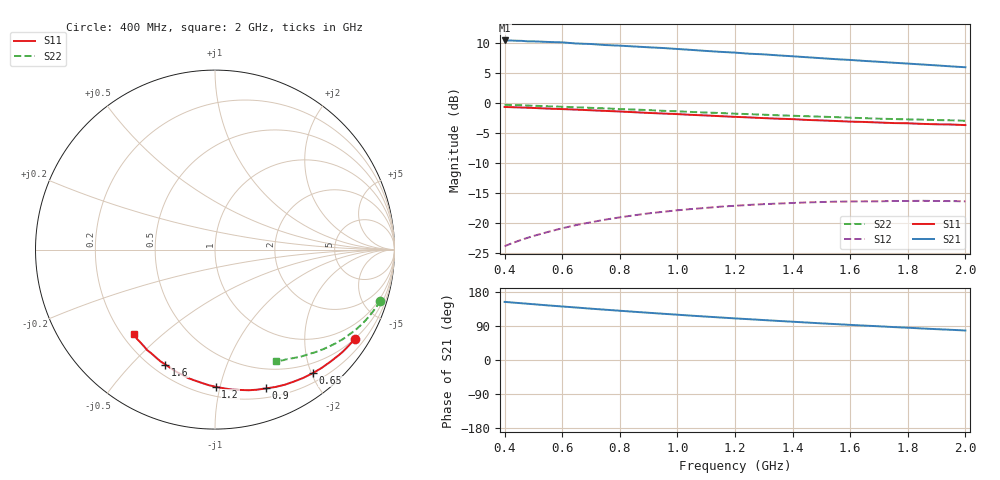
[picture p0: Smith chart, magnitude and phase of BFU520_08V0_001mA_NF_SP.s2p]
! Filename:  P:\Prog\Test\Noise\ATS_data\Testdata_Net\06 Compressed Noise after Statistics\BFU520_APG2013_37_A05_08p0V_001mA_NF_CM01_D.sf
! Date/Time: Fri 26/Apr/2013 14:13:09
! BFU520_APG2013_37_A05_08p0V_1to20mA_NF_CM01_Bias1_R.sf
! Noise Parameter Data File
! BFU520_APG2013_37_A05_08p0V_1to20mA_NF_CM01
! Date/time: Tue Apr 23 18:16:22 2013
! freq range =  0.4000 to  2.0000 GHz, 37 points
! bias range =  1.0000 to 20.0000 mA, 8 points
! bias supplies used: 1 1 0 0 0 0
! VAR bias_mode= 1  ! Specify V_out, I_out
! VAR bias_var = 1  ! Bias variable = I_out
! VAR V_out= 8.000000
! VAR I_out= 1.000000
! VAR V_in= 0.789100
! VAR I_in= 0.010700
! Device data file deembeded for feedlines and parallel
! Original file: \06 Compressed Noise after Statistics\BFU520_APG2013_37_A05_08p0V_001mA_NF_CM01_R.sf
! Feed-files: PR047V01_250413_Feed1.s2p, PR047V01_250413_Feed2.s2p
! Parallel-file: PR047V01_250413_Par.s2p
# MHz S MA R 50
!  Freq-MHz  S11-mag  S11-arg  S21-mag  S21-arg  S12-mag  S12-arg  S22-mag  S22-arg
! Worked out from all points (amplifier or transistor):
!   37 points, 400 MHz to 2 GHz, reference 50 ohm
!   highest |S21| = 10.4 dB at 400 MHz (marker M1)
!   |S21| within 3 dB of that: start of sweep to 1.512 GHz
!   unconditionally stable (mu >= 1): nowhere
!   at 500 MHz: K = 0.13, MSG = 16.2 dB, |S12| = -22.2 dB
!   at 1.1 GHz: K = 0.26, MSG = 13.1 dB, |S12| = -17.5 dB
!   at 2 GHz: K = 0.49, MSG = 11.2 dB, |S12| = -16.4 dB
!   lowest NFmin = 0.39 dB at 1.8 GHz
!   S11 on the Smith chart (normalised r, x): 400 MHz: 0.49, -3.36; 650 MHz: 0.34, -2.02; 900 MHz: 0.29, -1.40; 1.2 GHz: 0.26, -0.97; 1.6 GHz: 0.25, -0.63; 2 GHz: 0.25, -0.40
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400  0.924 -32.5  3.317 153.4  0.0637 68.5  0.9631 -17.2
420  0.9209 -34.1  3.317 152.2  0.06662 67.5  0.9597 -18.0
460  0.914 -37.2  3.292 149.7  0.07221 65.5  0.9547 -19.6
480  0.9111 -38.8  3.262 148.4  0.07482 64.5  0.9499 -20.4
500  0.9069 -40.3  3.262 147.2  0.07749 63.6  0.9467 -21.1
550  0.896 -44.3  3.224 144.1  0.08369 61.0  0.9368 -23.1
600  0.8872 -48.0  3.198 141.3  0.08987 58.8  0.9282 -24.9
650  0.8781 -51.7  3.128 138.4  0.09574 56.5  0.919 -26.7
700  0.8672 -55.6  3.098 135.4  0.1009 54.2  0.9086 -28.5
750  0.8569 -59.0  3.037 132.7  0.1061 52.1  0.8994 -30.2
800  0.8472 -62.8  3.002 130.0  0.1108 50.0  0.8878 -31.8
900  0.8242 -69.7  2.909 124.6  0.1197 46.1  0.87 -35.0
950  0.8148 -73.3  2.869 122.1  0.1232 44.0  0.8584 -36.6
1050  0.7942 -79.9  2.766 116.9  0.1301 40.3  0.8394 -39.6
1200  0.7645 -89.7  2.627 109.8  0.1384 35.1  0.8124 -43.6
1250  0.7561 -92.7  2.571 107.6  0.1408 33.7  0.8056 -44.7
1300  0.7461 -95.8  2.54 105.3  0.1428 32.0  0.7964 -46.1
1500  0.7138 -107.7  2.359 96.7  0.1487 26.1  0.7665 -50.9
1600  0.6975 -113.3  2.281 92.7  0.1503 23.4  0.7517 -53.2
1750  0.6783 -121.4  2.163 86.9  0.1518 19.8  0.7331 -56.3
1850  0.6678 -126.7  2.09 83.2  0.1524 17.5  0.7245 -58.2
2000  0.6523 -134.1  1.982 77.9  0.1507 14.3  0.7086 -61.4
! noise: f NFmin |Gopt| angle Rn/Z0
400  0.5277  0.6851  17.43  0.3608
460  0.5142  0.6548  23.21  0.3544
600  0.5712  0.6693  28.31  0.3486
800  0.6169  0.661  40.05  0.3309
1000  0.667  0.6551  49.88  0.32
1200  0.724  0.6572  61.3  0.3026
1400  0.7399  0.6255  68.89  0.2632
1600  0.7201  0.6064  82.98  0.1955
1800  0.3851  0.5525  99.41  0.1061
2000  0.9626  0.5861  105.4  0.1894
